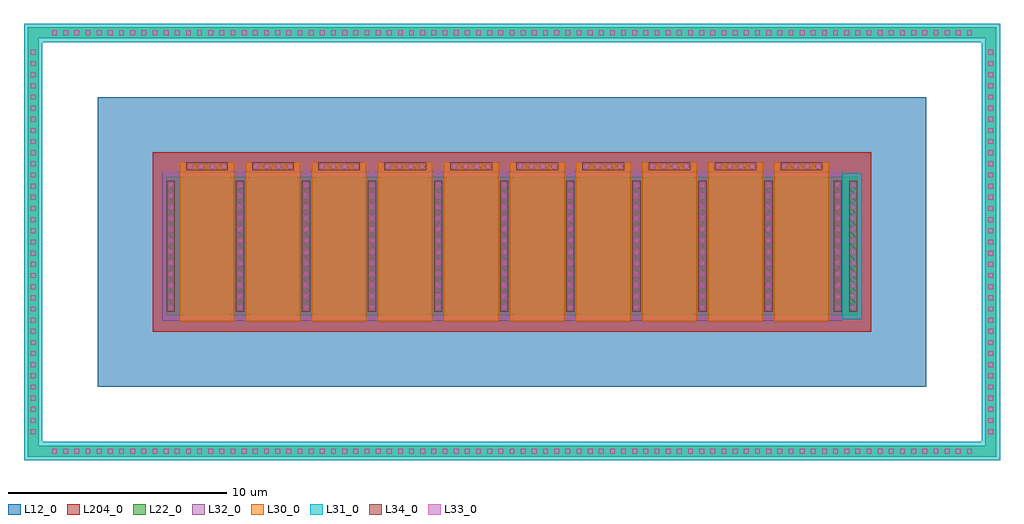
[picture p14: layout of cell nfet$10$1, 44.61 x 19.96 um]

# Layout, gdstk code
import gdstk
lib = gdstk.Library(unit=1e-6, precision=5e-09)
def R(c, l, rs):  # rectangles x0, y0, x1, y1
    for r in rs: c.add(gdstk.rectangle(r[:2], r[2:], *l))
def A(c, l, x, y, w, h, nx, ny, dx, dy):  # array of equal rectangles
    R(c, l, [(x+i*dx, y+j*dy, x+i*dx+w, y+j*dy+h) for i in range(nx) for j in range(ny)])
def P(c, l, *ps):  # polygons
    for p in ps: c.add(gdstk.Polygon(p, *l))
L12_0 = (12, 0)
L22_0 = (22, 0)
L30_0 = (30, 0)
L31_0 = (31, 0)
L32_0 = (32, 0)
L33_0 = (33, 0)
L34_0 = (34, 0)
L204_0 = (204, 0)

nfet_10_1 = lib.new_cell('nfet$10$1')
R(nfet_10_1, L12_0, [(-3.55,-3.26,34.32,9.96)])
R(nfet_10_1, L22_0, [(-0.42,0,0,6.33), (0,0,30.06,6.33), (30.06,0,30.48,6.33), (30.48,0,31.19,6.33)])
P(nfet_10_1, L22_0, [(-6.75,-6.46),(-6.75,12.66),(-6.25,12.66),(-6.25,-5.96),(37.02,-5.96),(37.02,12.66),(-6.75,12.66),(-6.75,13.16),(37.52,13.16),(37.52,-6.46)])
A(nfet_10_1, L30_0, 0.19, -0.3, 2.5, 6.93, 10, 1, 3.02, 0)
A(nfet_10_1, L30_0, 0.19, 6.63, 2.5, 0.36, 10, 1, 3.02, 0)
R(nfet_10_1, L31_0, [(30.48,-0.17,31.36,6.5)])
P(nfet_10_1, L31_0, [(-6.92,-6.63),(-6.92,12.49),(-6.08,12.49),(-6.08,-5.79),(36.85,-5.79),(36.85,12.49),(-6.92,12.49),(-6.92,13.33),(37.69,13.33),(37.69,-6.63)])
R(nfet_10_1, L32_0, [(-0.59,-0.24,30.48,6.57)])
A(nfet_10_1, L33_0, -5.635, -6.32, 0.22, 0.22, 83, 2, 0.51, 19.12)
A(nfet_10_1, L33_0, -6.61, -5.43, 0.22, 0.22, 1, 35, 0, 0.51)
A(nfet_10_1, L33_0, 37.16, -5.43, 0.22, 0.22, 1, 35, 0, 0.51)
A(nfet_10_1, L33_0, -0.32, 0.25, 0.22, 0.22, 1, 12, 0, 0.51)
A(nfet_10_1, L33_0, 2.84, 0.25, 0.22, 0.22, 9, 12, 3.02, 0.51)
A(nfet_10_1, L33_0, 30.16, 0.25, 0.22, 0.22, 1, 12, 0, 0.51)
A(nfet_10_1, L33_0, 30.87, 0.25, 0.22, 0.22, 1, 12, 0, 0.51)
A(nfet_10_1, L33_0, 0.565, 6.7, 0.22, 0.22, 4, 1, 0.51, 0)
A(nfet_10_1, L33_0, 3.585, 6.7, 0.22, 0.22, 4, 1, 0.51, 0)
A(nfet_10_1, L33_0, 6.605, 6.7, 0.22, 0.22, 4, 1, 0.51, 0)
A(nfet_10_1, L33_0, 9.625, 6.7, 0.22, 0.22, 4, 1, 0.51, 0)
A(nfet_10_1, L33_0, 12.645, 6.7, 0.22, 0.22, 4, 1, 0.51, 0)
A(nfet_10_1, L33_0, 15.665, 6.7, 0.22, 0.22, 4, 1, 0.51, 0)
A(nfet_10_1, L33_0, 18.685, 6.7, 0.22, 0.22, 4, 1, 0.51, 0)
A(nfet_10_1, L33_0, 21.705, 6.7, 0.22, 0.22, 4, 1, 0.51, 0)
A(nfet_10_1, L33_0, 24.725, 6.7, 0.22, 0.22, 4, 1, 0.51, 0)
A(nfet_10_1, L33_0, 27.745, 6.7, 0.22, 0.22, 4, 1, 0.51, 0)
A(nfet_10_1, L34_0, 2.76, 0.17, 0.38, 5.99, 9, 1, 3.02, 0)
A(nfet_10_1, L34_0, 0.485, 6.62, 1.91, 0.38, 10, 1, 3.02, 0)
R(nfet_10_1, L34_0, [(-0.4,0.17,-0.02,6.16), (30.08,0.17,30.46,6.16), (30.79,0.17,31.17,6.16)])
R(nfet_10_1, L204_0, [(-1.04,-0.75,31.81,7.45)])

lib.write_gds('nfet_10_1.gds')
